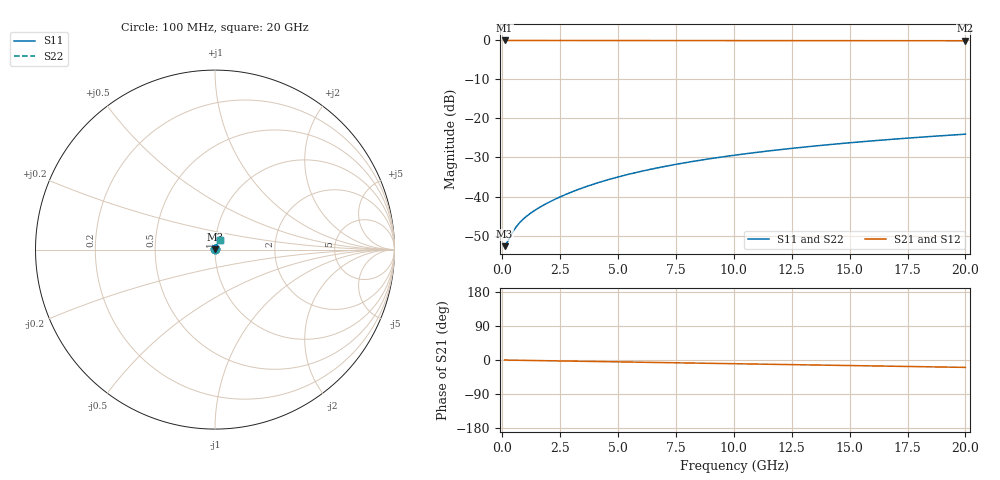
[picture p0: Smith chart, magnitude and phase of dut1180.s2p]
! Touchstone file exported from HFSS 2026.1.0
!  File:  C:/ffzhzh/LocalFiles/Ansys_Project_Files/temp_train_BSMRDL_1180_1783176138_55132.aedt
!  Generated:  10:43:28 PM Jul  4, 2026
!  Design:  BSMRDL
!  Project:  temp_train_BSMRDL_1180_1783176138_55132
! Variables:
!  h_bsmrdl = 2.24um
!  h_ox = 20um
!  h_rdl = 5um
!  h_sub = 80um
!  h_tmrdl = 5um
!  h_tsv = 80um
!  h_via = 3um
!  l_bsmrdl = 321.66um
!  l_sub = 721.66um
!  l_tmrdl = 200um
!  m_sub = 200um
!  pitch = 34.46um
!  r_tsv = 6um
!  s_tmrdl = 10um
!  w_bsmrdl = 28.33um
!  w_sub = 500um
!  w_tmrdl = 12um
!  x_tsv_center1 = 206um
!  x_tsv_center2 = 555.99um
!  x_tsv_center3 = 767.99um
!  x_tsv_center4 = 1117.98um
!  x_tsv_center5 = 1329.98um
!  x_tsv_center6 = 1679.97um
# GHz S MA R 50.000000
! Terminal data exported
! Port[1] = BSM_RDL1_1_T1
! Port[2] = BSM_RDL1_1_T2
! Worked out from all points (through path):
!   200 points, 100 MHz to 20 GHz, reference 50 ohm
!   highest |S21| = -0.02 dB at 100 MHz (marker M1); lowest = -0.1 dB at 20 GHz (marker M2)
!   group delay of S21, straight-line fit = 2.7 ps
!   lowest |S11| = -52.7 dB at 100 MHz (marker M3), VSWR 1.00, Z = 50.2 + j0.0622 ohm
!   |S11| at or under -10 dB: start of sweep to end of sweep
!   |S22| runs from -52.7 to -24.0 dB; largest |S21 - S12| = 4.2e-15
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0.1  0.002313 15.5  0.9978 -0.1  0.9978 -0.1  0.002313 15.5
! Gamma 0 0 0 0
! Port Impedance 50 0 50 0
0.2  0.002558 26.3  0.9976 -0.2  0.9976 -0.2  0.002558 26.3
0.4  0.003303 39.3  0.9973 -0.4  0.9973 -0.4  0.003303 39.3
0.5  0.003699 42.9  0.9971 -0.5  0.9971 -0.5  0.0037 42.9
0.6  0.004083 45.5  0.997 -0.6  0.997 -0.6  0.004084 45.5
0.7  0.004449 47.4  0.9968 -0.7  0.9968 -0.7  0.004449 47.4
0.9  0.005127 50.4  0.9966 -0.9  0.9966 -0.9  0.005127 50.4
1.2  0.006055 53.8  0.9964 -1.2  0.9964 -1.2  0.006056 53.8
1.6  0.007231 57.7  0.9963 -1.6  0.9963 -1.6  0.007231 57.7
2.2  0.009002 62.1  0.9961 -2.2  0.9961 -2.2  0.009002 62.1
2.8  0.01083 65.3  0.9959 -2.8  0.9959 -2.8  0.01083 65.3
3.5  0.01301 67.7  0.9957 -3.5  0.9957 -3.5  0.01301 67.7
4.2  0.01524 69.3  0.9956 -4.2  0.9956 -4.2  0.01524 69.3
5  0.01781 70.4  0.9953 -5.0  0.9953 -5.0  0.01781 70.4
5.9  0.02071 71.0  0.9951 -5.8  0.9951 -5.8  0.02071 71.0
6.8  0.0236 71.2  0.9948 -6.7  0.9948 -6.7  0.0236 71.2
8.4  0.02871 70.9  0.9942 -8.3  0.9942 -8.3  0.02871 70.9
10.1  0.03405 70.1  0.9935 -9.9  0.9935 -9.9  0.03405 70.1
11.7  0.03897 69.1  0.9929 -11.5  0.9929 -11.5  0.03898 69.1
13.4  0.0441 67.9  0.9921 -13.1  0.9921 -13.1  0.0441 67.9
16.7  0.05372 65.3  0.9906 -16.3  0.9906 -16.3  0.05373 65.2
20  0.06293 62.5  0.9891 -19.5  0.9891 -19.5  0.06293 62.5
